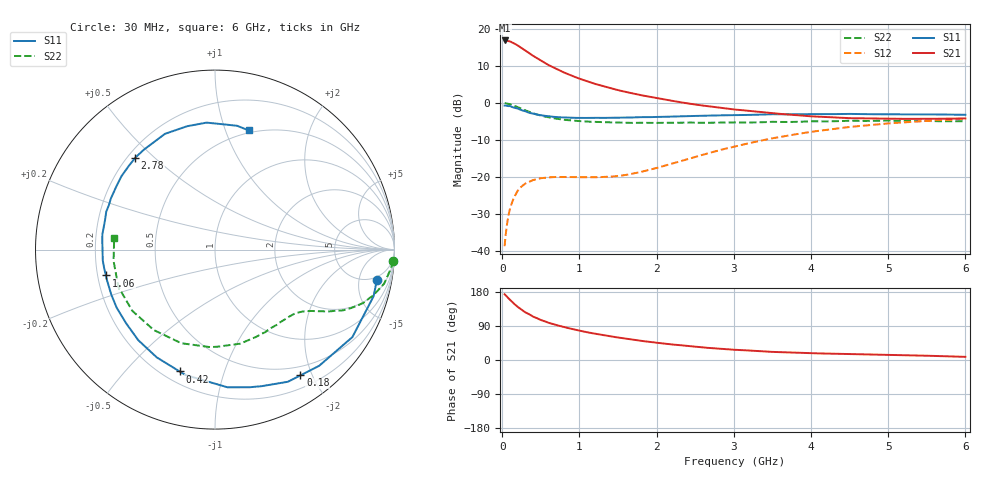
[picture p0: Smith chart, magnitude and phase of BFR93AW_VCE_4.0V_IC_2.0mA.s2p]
! Infineon Technologies  Discrete & RF Semiconductors
! BFR93AW
! VCE =  4.0 V,  IC =  2.0 mA
! Common Emitter S-Parameters:  Nov 2015
# GHz  S  MA  R  50
!  f  S11  S21  S12  S22
! GHz  MAG  ANG  MAG  ANG  MAG  ANG  MAG  ANG
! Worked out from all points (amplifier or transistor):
!   206 points, 30 MHz to 6 GHz, reference 50 ohm
!   highest |S21| = 16.9 dB at 30 MHz (marker M1)
!   |S21| within 3 dB of that: start of sweep to 317.7 MHz
!   unconditionally stable (mu >= 1): 1.226 GHz to 2.327 GHz
!   at 200 MHz: K = 0.17, MSG = 19.7 dB, |S12| = -23.8 dB
!   at 1.56 GHz: K = 1.16, MAG = 9.0 dB, |S12| = -19.6 dB
!   at 6 GHz: K = 0.99, MSG = 0.1 dB, |S12| = -4.3 dB
!   S11 on the Smith chart (normalised r, x): 30 MHz: 4.01, -8.76; 180 MHz: 0.37, -1.83; 420 MHz: 0.26, -0.72; 1.06 GHz: 0.23, -0.11; 2.78 GHz: 0.23, +0.43; 6 GHz: 0.48, +1.20
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0.03  0.9178 -10.8  6.996 173.6  0.0115 83.6  0.9946 -3.6
0.05  0.921 -16.4  6.987 169.1  0.0187 80.0  0.9869 -5.9
0.1  0.9075 -32.5  6.805 158.7  0.0374 72.3  0.9613 -11.4
0.15  0.8695 -48.1  6.419 148.7  0.0519 64.4  0.9194 -16.0
0.18  0.8471 -55.8  6.144 143.7  0.0595 60.0  0.893 -18.3
0.24  0.8042 -71.1  5.615 134.0  0.0722 53.3  0.8396 -22.3
0.3  0.7704 -84.8  5.103 125.6  0.081 47.8  0.791 -25.3
0.4  0.7178 -103.3  4.328 114.4  0.0903 40.9  0.7221 -28.5
0.42  0.7069 -106.2  4.203 112.8  0.0913 39.9  0.7118 -28.9
0.5  0.6826 -118.4  3.74 105.5  0.0956 36.3  0.6711 -30.8
0.6  0.6614 -130.3  3.248 98.2  0.0982 33.9  0.6368 -32.5
0.7  0.6432 -140.4  2.884 92.2  0.0994 32.4  0.6113 -34.1
0.86  0.6314 -153.6  2.427 83.9  0.0993 32.3  0.5827 -36.9
1.04  0.6251 -165.5  2.057 75.8  0.0985 34.4  0.5632 -40.3
1.06  0.6251 -166.7  2.023 75.0  0.0985 34.7  0.5613 -40.7
1.5  0.6332 172.3  1.487 59.3  0.1025 47.3  0.5423 -50.5
2.02  0.6466 153.2  1.15 45.0  0.1333 63.2  0.5375 -64.6
2.78  0.677 131.2  0.871 30.2  0.2245 69.9  0.5405 -86.8
3.1  0.6848 123.0  0.797 26.1  0.2698 68.0  0.5423 -96.3
4.1  0.7042 101.0  0.651 17.4  0.4183 55.5  0.5616 -130.6
5.1  0.6993 85.0  0.609 13.1  0.5354 39.6  0.5723 -161.8
6  0.69 74.3  0.616 8.3  0.6079 26.6  0.5654 173.4
